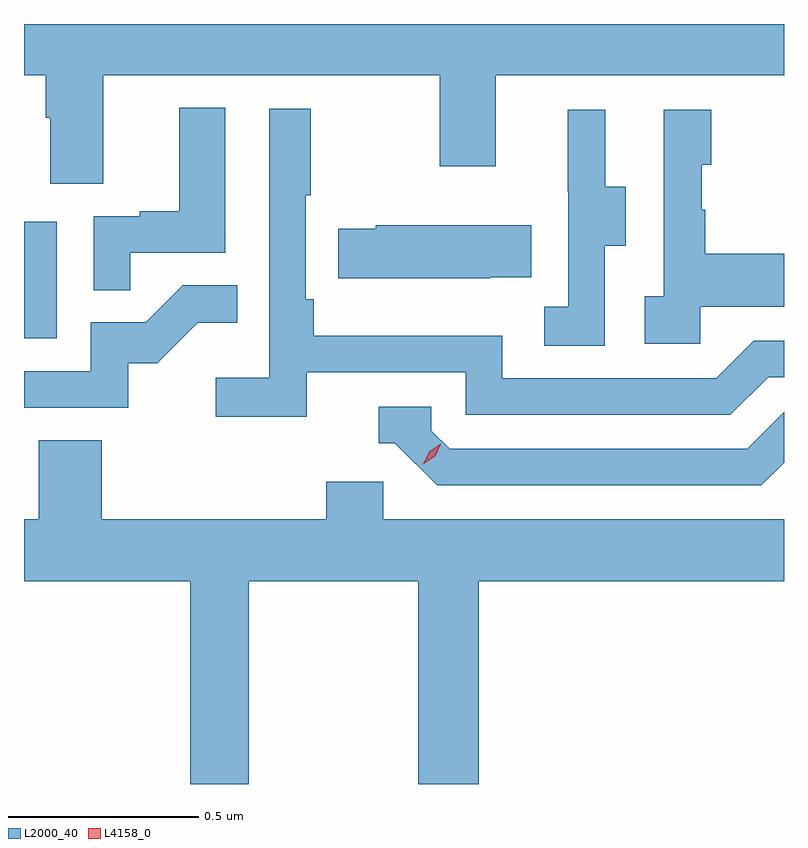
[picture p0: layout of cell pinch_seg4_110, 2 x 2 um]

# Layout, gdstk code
import gdstk
lib = gdstk.Library(unit=1e-6, precision=1e-09)
def R(c, l, rs):  # rectangles x0, y0, x1, y1
    for r in rs: c.add(gdstk.rectangle(r[:2], r[2:], *l))
def P(c, l, *ps):  # polygons
    for p in ps: c.add(gdstk.Polygon(p, *l))
L2000_40 = (2000, 40)
L4158_0 = (4158, 0)

pinch_seg4_110 = lib.new_cell('pinch_seg4_110')
R(pinch_seg4_110, L2000_40, [(1078.484,794.796,1078.57,795.103)])
P(pinch_seg4_110, L2000_40, [(1078.693,795.488),(1079.578,795.488),(1079.578,795.249),(1079.725,795.249),(1079.725,795.488),(1080.484,795.488),(1080.484,795.623),(1078.484,795.623),(1078.484,795.488),(1078.541,795.488),(1078.541,795.376),(1078.553,795.376),(1078.553,795.202),(1078.693,795.202)],
  [(1078.763,795.021),(1079.014,795.021),(1079.014,795.403),(1078.892,795.403),(1078.892,795.13),(1078.789,795.13),(1078.789,795.117),(1078.668,795.117),(1078.668,794.923),(1078.763,794.923)],
  [(1079.228,794.706),(1079.646,794.706),(1079.646,794.595),(1080.343,794.595),(1080.442,794.694),(1080.484,794.694),(1080.484,794.79),(1080.405,794.79),(1080.306,794.691),(1079.742,794.691),(1079.742,794.803),(1079.246,794.803),(1079.246,794.899),(1079.226,794.899),(1079.226,795.172),(1079.239,795.172),(1079.239,795.4),(1079.13,795.4),(1079.13,794.692),(1078.989,794.692),(1078.989,794.59),(1079.228,794.59)],
  [(1080.012,795.04),(1080.067,795.04),(1080.067,795.195),(1080.013,795.195),(1080.013,795.397),(1079.915,795.397),(1079.915,795.183),(1079.916,795.183),(1079.916,794.879),(1079.853,794.879),(1079.853,794.776),(1080.012,794.776)],
  [(1080.264,794.879),(1080.484,794.879),(1080.484,795.019),(1080.277,795.019),(1080.277,795.134),(1080.267,795.134),(1080.267,795.252),(1080.292,795.252),(1080.292,795.397),(1080.168,795.397),(1080.168,794.906),(1080.117,794.906),(1080.117,794.781),(1080.264,794.781)],
  [(1079.711,794.957),(1079.819,794.957),(1079.819,795.094),(1079.409,795.094),(1079.409,795.084),(1079.311,795.084),(1079.311,794.954),(1079.711,794.954)],
  [(1078.758,794.73),(1078.834,794.73),(1078.941,794.837),(1079.045,794.837),(1079.045,794.936),(1078.902,794.936),(1078.804,794.838),(1078.659,794.838),(1078.659,794.709),(1078.484,794.709),(1078.484,794.613),(1078.758,794.613)],
  [(1080.484,794.469),(1080.484,794.602),(1080.387,794.505),(1079.604,794.505),(1079.556,794.553),(1079.556,794.616),(1079.417,794.616),(1079.417,794.52),(1079.46,794.52),(1079.571,794.409),(1080.424,794.409)],
  [(1079.076,794.156),(1079.521,794.156),(1079.521,793.623),(1079.681,793.623),(1079.681,794.156),(1080.484,794.156),(1080.484,794.32),(1079.43,794.32),(1079.43,794.418),(1079.279,794.418),(1079.279,794.32),(1078.688,794.32),(1078.688,794.528),(1078.523,794.528),(1078.523,794.32),(1078.484,794.32),(1078.484,794.156),(1078.921,794.156),(1078.921,793.623),(1079.076,793.623)])
P(pinch_seg4_110, L4158_0, [(1079.535,794.465),(1079.535,794.466),(1079.55,794.498),(1079.581,794.518),(1079.581,794.518),(1079.581,794.517),(1079.566,794.485),(1079.535,794.465)])

lib.write_gds('pinch_seg4_110.gds')
